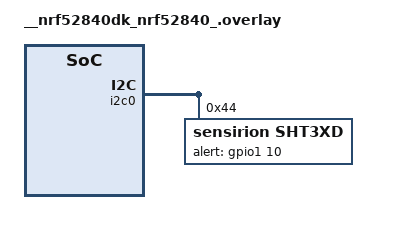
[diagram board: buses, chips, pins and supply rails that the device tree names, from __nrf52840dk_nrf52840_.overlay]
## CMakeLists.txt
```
#
# Copyright (c) 2019 Nordic Semiconductor ASA
#
# SPDX-License-Identifier: LicenseRef-BSD-5-Clause-Nordic
#
cmake_minimum_required(VERSION 3.8.2)

#Board selection
#set(BOARD nrf52840dk_nrf52840)
#set(BOARD nrf5340pdk_nrf5340_cpunet)
#set(BOARD nrf5340pdk_nrf5340_cpuapp)
set(BOARD nrf52840dongle_nrf52840)
#set(BOARD nrf52840dk_nrf52811)

find_package(Zephyr REQUIRED HINTS $ENV{ZEPHYR_BASE})
project(NONE)

# Include all files in folder src
FILE(GLOB app_sources_c src/*.c)
FILE(GLOB app_sources_cpp src/*.cpp)

target_sources(app PRIVATE
	${app_sources_c}
	${app_sources_cpp}
	svm30-7.1.1/hw_i2c/sample-implementations/zephyr_user_space/sensirion_hw_i2c_implementation.c
	svm30-7.1.1/sensirion_common.c
	svm30-7.1.1/sht_git_version.c
	svm30-7.1.1/svm30.c
	svm30-7.1.1/sgp30.c
	svm30-7.1.1/shtc1.c
	svm30-7.1.1/sensirion_humidity_conversion.c
	svm30-7.1.1/sensirion_temperature_unit_conversion.c)
target_include_directories(app PRIVATE include
	svm30-7.1.1)
```

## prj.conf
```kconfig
#
# Copyright (c) 2019 Nordic Semiconductor ASA
#
# SPDX-License-Identifier: LicenseRef-BSD-5-Clause-Nordic
#
CONFIG_NCS_SAMPLES_DEFAULTS=y

# General configuration
CONFIG_SYSTEM_WORKQUEUE_STACK_SIZE=2048
CONFIG_FLASH=y
CONFIG_FLASH_MAP=y
#CONFIG_FCB=y
CONFIG_NVS=y
CONFIG_SETTINGS=y
CONFIG_HWINFO=y
CONFIG_LOG=y
CONFIG_LOG_PRINTK=y

CONFIG_DK_LIBRARY=y
CONFIG_BT_MESH_DK_PROV=y

# Bluetooth configuration
CONFIG_BT=y
CONFIG_BT_COMPANY_ID=0x0059
CONFIG_BT_DEVICE_NAME="CO2 VOC TEMP HUM Sensor"
CONFIG_BT_L2CAP_RX_MTU=69
CONFIG_BT_L2CAP_TX_MTU=69
CONFIG_BT_L2CAP_TX_BUF_COUNT=8
CONFIG_BT_LL_SW_SPLIT=y
CONFIG_BT_OBSERVER=y
CONFIG_BT_PERIPHERAL=y
CONFIG_BT_SETTINGS=y
CONFIG_BT_MAX_CONN=3

# Disable unused Bluetooth features
CONFIG_BT_CTLR_DUP_FILTER_LEN=0
CONFIG_BT_CTLR_LE_ENC=n
CONFIG_BT_DATA_LEN_UPDATE=n
CONFIG_BT_PHY_UPDATE=n
CONFIG_BT_CTLR_CHAN_SEL_2=n
CONFIG_BT_CTLR_MIN_USED_CHAN=n
CONFIG_BT_CTLR_PRIVACY=n

# Bluetooth Mesh configuration
CONFIG_BT_MESH=y
CONFIG_BT_MESH_RELAY=y
CONFIG_BT_MESH_FRIEND=y
CONFIG_BT_MESH_LOW_POWER=n
CONFIG_BT_MESH_LPN_AUTO=n
CONFIG_BT_MESH_LPN_AUTO_TIMEOUT=5
CONFIG_BT_MESH_ADV_BUF_COUNT=13
CONFIG_BT_MESH_TX_SEG_MAX=10
CONFIG_BT_MESH_PB_GATT=y
CONFIG_BT_MESH_GATT_PROXY=y

# Bluetooth Mesh models
CONFIG_BT_MESH_SENSOR_SRV=y

# For NRF Dongle over SWD Flashing
CONFIG_BOARD_HAS_NRF5_BOOTLOADER=y

# Enable the console, logging and the printk function
CONFIG_CONSOLE=y
CONFIG_SERIAL=y
CONFIG_UART_CONSOLE=y

# I2C SHT3xd Sensor
#CONFIG_STDOUT_CONSOLE=y
CONFIG_I2C=y
CONFIG_NEWLIB_LIBC=y
CONFIG_NEWLIB_LIBC_FLOAT_PRINTF=y
#CONFIG_SENSOR=y
#CONFIG_SHT3XD=y

# Power Managment Device
#CONFIG_PM=y
#CONFIG_PM_DEEP_SLEEP_STATES=y
#CONFIG_PM_STATE_LOCK=y
#CONFIG_SERIAL=n
```

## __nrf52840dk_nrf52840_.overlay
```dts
&i2c0 { /* SDA P0.26, SCL P0.27, ALERT P1.10 */
	sht3xd@44 {
		compatible = "sensirion,sht3xd";
		reg = <0x44>;
		label = "SHT3XD";
		alert-gpios = <&gpio1 10 GPIO_ACTIVE_HIGH>;
	};
};
```

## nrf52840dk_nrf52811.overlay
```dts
/ {
     inputs {
		compatible = "gpio-keys";
		signal: signal_0 {
			gpios = < &gpio0 0xd 0x11 >;
			label = "Signal of Switch";
		};
        pulse: pulse_0 {
			gpios = < &gpio0 0xf 0x11 >;
			label = "Pulse of Switch";
		};
    };
    outputs {
		compatible = "gpio-leds";
		switch: switch_0 {
			gpios = < &gpio0 0xa 0x11 >;
			label = "Switch";
		};
    };
};

&spi1 {
     status = "disabled";
};
```

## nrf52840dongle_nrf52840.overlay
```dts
&uart0 {
	compatible = "nordic,nrf-uarte";
	status = "okay";
	current-speed = <115200>;
	tx-pin = <9>;
	rx-pin = <10>;
	rts-pin = <17>;
	cts-pin = <24>;
};

arduino_i2c: &i2c0 {
	compatible = "nordic,nrf-twi";
	status = "okay";
	sda-pin = <20>;
	scl-pin = <22>;
};
```

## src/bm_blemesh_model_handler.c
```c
/*
This file is part of Bluetooth-Benchamrk.

Bluetooth-Benchamrk is free software: you can redistribute it and/or modify
it under the terms of the GNU General Public License as published by
the Free Software Foundation, either version 3 of the License, or
(at your option) any later version.

Bluetooth-Benchamrk is distributed in the hope that it will be useful,
but WITHOUT ANY WARRANTY; without even the implied warranty of
MERCHANTABILITY or FITNESS FOR A PARTICULAR PURPOSE.  See the
GNU General Public License for more details.

You should have received a copy of the GNU General Public License
along with Bluetooth-Benchamrk.  If not, see <http://www.gnu.org/licenses/>.
*/

/* AUTHOR 	 :    Raffael Anklin       */

/* Pin Assigments: 

| Port.Pin 	| Description
|	P1.10	|	Switch ON/OFF
|	P1.13	|	Signal from Host (1=ON/0=OFF)
|	P1.15	|	Switch Pulse from Host (1s High for Active Switching)

*/

#include "bm_config.h"
#include "bm_simple_buttons_and_leds.h"
#include "bm_blemesh.h"
#include "bm_blemesh_model_handler.h"

#include <bluetooth/bluetooth.h>
#include <bluetooth/mesh/models.h>
#include <bluetooth/mesh/model_types.h>

//#include <device.h>
//#include <drivers/sensor.h>

#include "svm30.h"

#include <stdio.h>

/** Health Server definition */
static void attention_on(struct bt_mesh_model *model)
{
	printk("attention_on()\n");
}

static void attention_off(struct bt_mesh_model *model)
{
	printk("attention_off()\n");
}
static const struct bt_mesh_health_srv_cb health_srv_cb = {
	.attn_on = attention_on,
	.attn_off = attention_off,
};

static struct bt_mesh_health_srv health_srv = {
	.cb = &health_srv_cb,
};

BT_MESH_HEALTH_PUB_DEFINE(health_pub, 0);

/* The Reading of the Sensor has to be done excatly every second */
#define READ_DATA_INTERVAL 1000
int16_t err;
uint16_t tvoc_ppb, co2_eq_ppm;
uint32_t iaq_baseline;
int32_t temperature, humidity;
static struct k_delayed_work read_data_work;

static void read_data(struct k_work *work)
{
	err = svm_measure_iaq_blocking_read(&tvoc_ppb, &co2_eq_ppm,
										&temperature, &humidity);
	if (err == STATUS_OK)
	{
		/*
		printf("tVOC  Concentration: %dppb\n", tvoc_ppb);
		printf("CO2eq Concentration: %dppm\n", co2_eq_ppm);
		printf("Temperature: %0.3fC\n", temperature / 1000.0f);
		printf("Humidity: %0.3f%%RH\n", humidity / 1000.0f);
		*/
	}
	else
	{
		printf("error reading sensor\n");
	}

	k_delayed_work_submit(&read_data_work, K_MSEC(READ_DATA_INTERVAL));
}

// the good stuff
void doubleToSensorValue(double d, struct sensor_value *val)
{
	val->val1 = (int)d;
	val->val2 = (d - val->val1) * 1000000;
}

static int temp_get(struct bt_mesh_sensor *sensor,
					struct bt_mesh_msg_ctx *ctx, struct sensor_value *rsp)
{
	doubleToSensorValue((double)temperature / 1000, rsp);
	return err;
}

static int hum_get(struct bt_mesh_sensor *sensor,
				   struct bt_mesh_msg_ctx *ctx, struct sensor_value *rsp)
{
	doubleToSensorValue((double)humidity / 1000, rsp);
	return err;
}

static int tvoc_ppb_get(struct bt_mesh_sensor *sensor,
				   struct bt_mesh_msg_ctx *ctx, struct sensor_value *rsp)
{
	doubleToSensorValue((double)tvoc_ppb, rsp);
	return err;
}

static int co2_eq_ppm_get(struct bt_mesh_sensor *sensor,
				   struct bt_mesh_msg_ctx *ctx, struct sensor_value *rsp)
{
	doubleToSensorValue((double)co2_eq_ppm, rsp);
	return err;
}

static struct bt_mesh_sensor temp = {
	.type = &bt_mesh_sensor_present_dev_op_temp,
	.get = temp_get,
};

static struct bt_mesh_sensor hum = {
	.type = &bt_mesh_sensor_present_amb_rel_humidity,
	.get = hum_get,
};

static struct bt_mesh_sensor tvoc = {
	.type = &bt_mesh_sensor_present_amb_voc_concentration,
	.get = tvoc_ppb_get,
};

static struct bt_mesh_sensor co2_eq = {
	.type = &bt_mesh_sensor_present_amb_co2_concentration,
	.get = co2_eq_ppm_get,
};

static struct bt_mesh_sensor *const sensors[] = {
	&temp,
	&hum,
	&tvoc,
	&co2_eq};

static struct bt_mesh_sensor_srv sensor_srv = BT_MESH_SENSOR_SRV_INIT(sensors, ARRAY_SIZE(sensors));

/* Define all Elements */
static struct bt_mesh_elem elements[] = {
	BT_MESH_ELEM(
		1, BT_MESH_MODEL_LIST(BT_MESH_MODEL_CFG_SRV, BT_MESH_MODEL_HEALTH_SRV(&health_srv, &health_pub), BT_MESH_MODEL_SENSOR_SRV(&sensor_srv)),
		BT_MESH_MODEL_NONE)};

/* Create Composition */
static const struct bt_mesh_comp comp = {
	.cid = CONFIG_BT_COMPANY_ID,
	.elem = elements,
	.elem_count = ARRAY_SIZE(elements),
};

const struct bt_mesh_comp *bm_blemesh_model_handler_init(void)
{
	/*
	dev = device_get_binding("SHT3XD");
	if (dev == NULL)
	{
		printf("Could not get SHT3XD device\n");
	}
	*/
	/* Initialize the i2c bus for the current platform */
	sensirion_i2c_init();
	sensirion_i2c_select_bus(0);
	err = sgp30_iaq_init();
	printf("Init SVM30 return code %d\n", err);
	k_delayed_work_init(&read_data_work, read_data);
	k_delayed_work_submit(&read_data_work, K_MSEC(READ_DATA_INTERVAL));

	return &comp;
}
```
